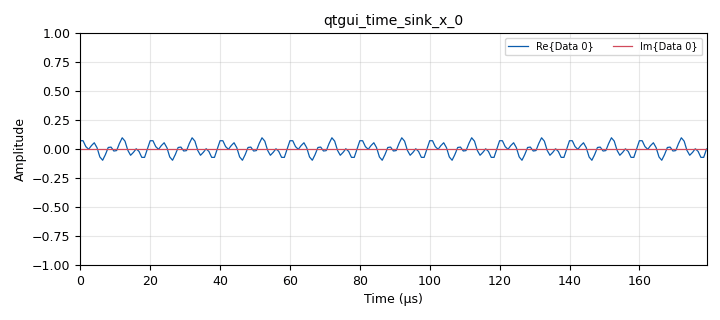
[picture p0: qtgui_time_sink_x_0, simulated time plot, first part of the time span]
options:
  parameters:
    generate_options: qt_gui
    id: lab1_exercise3
    output_language: python
    title: Lab 1 - Exercise 3 Transmitter
  states: {}

blocks:
- name: N_TX
  id: variable
  parameters:
    value: int(samp_rate * T_TX)
  states: {}
- name: TX_gain
  id: variable
  parameters:
    value: '40'
  states: {}
- name: T_TX
  id: variable
  parameters:
    value: '10.0'
  states: {}
- name: center_frequency
  id: variable_qtgui_range
  parameters:
    start: '0'
    step: '10000000'
    stop: '2450000000'
    value: '2450000000'
  states: {}
- name: dig_amplitude
  id: variable
  parameters:
    value: '0.05'
  states: {}
- name: samp_rate
  id: variable
  parameters:
    value: '1250000'
  states: {}
- name: analog_sig_source_x_0
  id: analog_sig_source_x
  parameters:
    amp: dig_amplitude
    freq: '100000'
    offset: '0'
    phase: '0'
    samp_rate: samp_rate
    type: float
    waveform: analog.GR_SIN_WAVE
  states: {}
- name: analog_sig_source_x_1
  id: analog_sig_source_x
  parameters:
    amp: dig_amplitude
    freq: '250000'
    offset: '0'
    phase: '0'
    samp_rate: samp_rate
    type: float
    waveform: analog.GR_SIN_WAVE
  states: {}
- name: blocks_add_xx_0
  id: blocks_add_xx
  parameters:
    type: float
  states: {}
- name: blocks_float_to_complex_0
  id: blocks_float_to_complex
  parameters: {}
  states: {}
- name: blocks_head_0
  id: blocks_head
  parameters:
    num_items: N_TX
    type: complex
  states: {}
- name: blocks_null_source_0
  id: blocks_null_source
  parameters:
    type: float
  states: {}
- name: qtgui_time_sink_x_0
  id: qtgui_time_sink_x
  parameters:
    ctrlpanel: 'True'
    size: '1024'
    srate: samp_rate
    type: complex
  states: {}
- name: uhd_usrp_sink_0
  id: uhd_usrp_sink
  parameters:
    ant0: '"TX/RX"'
    bw0: samp_rate
    center_freq0: center_frequency
    clock_rate: 125.0e6
    dev_addr: '"addr=10.61.40.84"'
    gain0: TX_gain
    samp_rate: samp_rate
    sd_spec0: A:0
    sync: sync
    type: fc32
  states: {}

connections:
- [analog_sig_source_x_0, '0', blocks_add_xx_0, '0']
- [analog_sig_source_x_1, '0', blocks_add_xx_0, '1']
- [blocks_add_xx_0, '0', blocks_float_to_complex_0, '0']
- [blocks_float_to_complex_0, '0', blocks_head_0, '0']
- [blocks_head_0, '0', qtgui_time_sink_x_0, '0']
- [blocks_head_0, '0', uhd_usrp_sink_0, '0']
- [blocks_null_source_0, '0', blocks_float_to_complex_0, '1']

metadata:
  file_format: 1
  grc_version: 3.10.12.0
